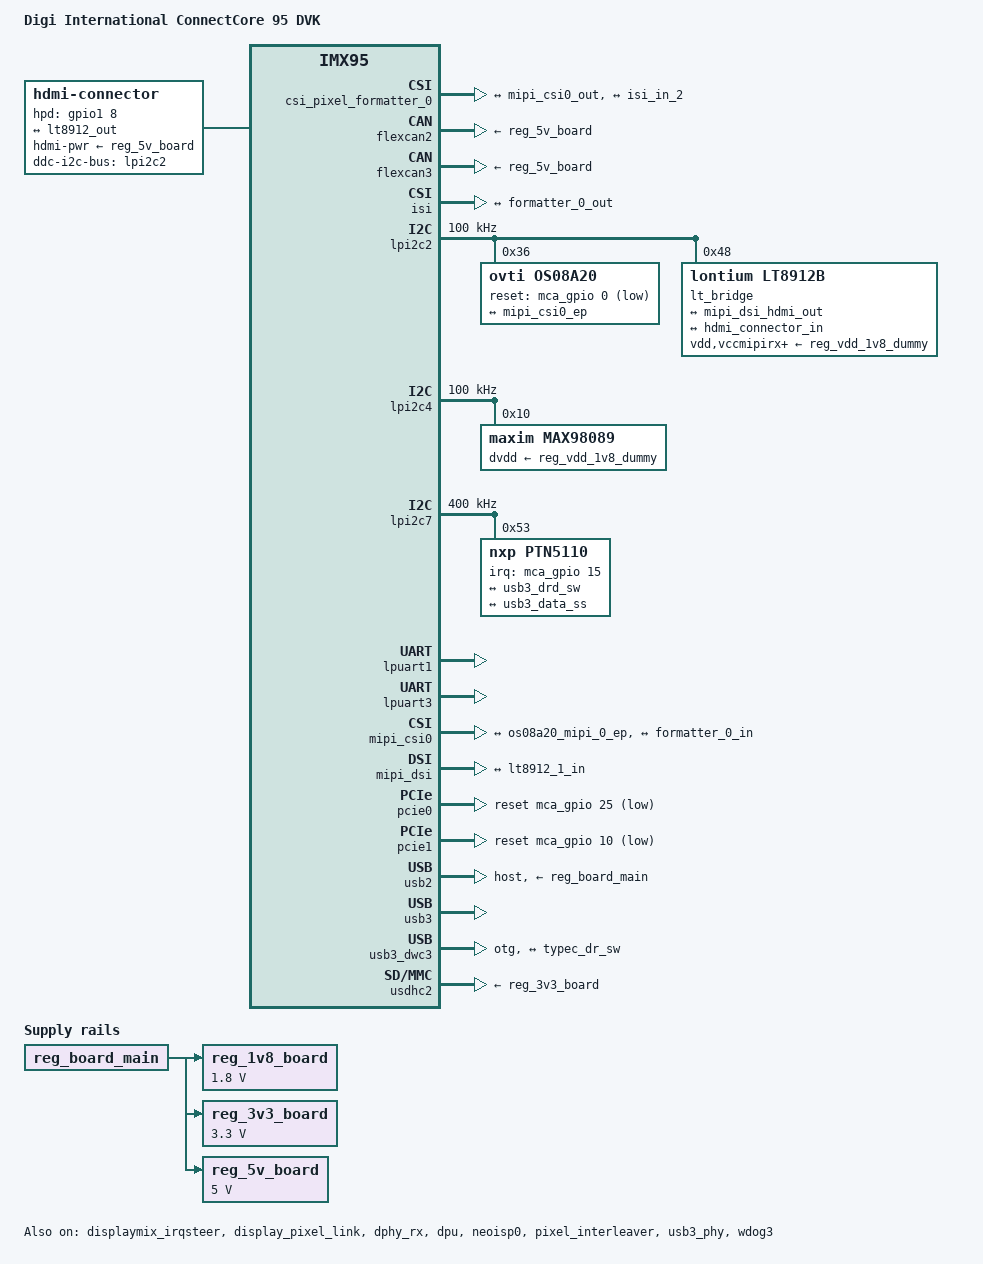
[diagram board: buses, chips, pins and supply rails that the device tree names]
// SPDX-License-Identifier: (GPL-2.0+ OR MIT)
/*
 * Copyright 2025-2026, Digi International Inc.
 */

/dts-v1/;

#include <dt-bindings/phy/phy-imx8-pcie.h>
#include <dt-bindings/pwm/pwm.h>
#include <dt-bindings/usb/pd.h>
/* i.MX95 CPU */
#include "../freescale/imx95.dtsi"
/* Digi ConnectCore 95 (SOM) */
#include "ccimx95.dtsi"
/* Digi ConnectCore 95 SMARC card for SOM */
#include "ccimx95-smarc.dtsi"

/ {
	model = "Digi International ConnectCore 95 DVK";
	compatible = "digi,ccimx95-dvk", "digi,ccimx95", "fsl,imx95-19x19-evk", "fsl,imx95";
	digi,machine,name = "ccimx95-dvk";

	aliases {
		ethernet0 = &enetc_port0;
		ethernet1 = &enetc_port1;
	};

	chosen {
		stdout-path = &lpuart1;
	};

	hdmi_connector: hdmi-connector {
		compatible = "hdmi-connector";
		pinctrl-names = "default";
		pinctrl-0 = <&pinctrl_hdmi_hpd>;
		ddc-i2c-bus = <&lpi2c2>;
		hdmi-pwr-supply = <&reg_5v_board>;
		hpd-gpios = <&gpio1 8 GPIO_ACTIVE_HIGH>;
		label = "hdmi";
		type = "a";

		port {
			hdmi_connector_in: endpoint {
				remote-endpoint = <&lt8912_out>;
			};
		};
	};

	/* Required placeholder to inject LVDS0 overlay */
	lvds0-panel {
		status = "disabled";
	};

	/* Required placeholder to inject LVDS1 overlay */
	lvds1-panel {
		status = "disabled";
	};

	regulators {
		compatible = "simple-bus";
		#address-cells = <1>;
		#size-cells = <0>;

		/* Enabled by SMARC_CARRIER_PWR_ON (MCA) */
		reg_board_main: regulator-board-main {
			compatible = "regulator-fixed";
			regulator-name = "reg_main";
			enable-active-high;
		};

		reg_1v8_board: regulator-1v8-board {
			compatible = "regulator-fixed";
			regulator-max-microvolt = <1800000>;
			regulator-min-microvolt = <1800000>;
			regulator-name = "1v8_board";
			vin-supply = <&reg_board_main>;
		};

		reg_3v3_board: regulator-3v3-board {
			compatible = "regulator-fixed";
			regulator-max-microvolt = <3300000>;
			regulator-min-microvolt = <3300000>;
			regulator-name = "3v3_board";
			vin-supply = <&reg_board_main>;
		};

		reg_5v_board: regulator-5v-board {
			compatible = "regulator-fixed";
			regulator-max-microvolt = <5000000>;
			regulator-min-microvolt = <5000000>;
			regulator-name = "5v_board";
			vin-supply = <&reg_board_main>;
		};
	};

	sound_max98089: sound-max98089 {
		compatible = "fsl,imx-audio-max98088";
		model = "max98088-audio";
		audio-cpu = <&sai3>;
		audio-codec = <&max98089>;
		audio-routing =
			"Headphone Jack", "HPL",
			"Headphone Jack", "HPR",
			"Ext Spk", "SPKL",
			"Ext Spk", "SPKR",
			"Line Out Jack", "RECL",
			"Line Out Jack", "RECR",
			"Mic Jack", "MIC2",
			"Line In Jack", "INA1",
			"Line In Jack", "INA2",
			"Line In Jack", "INB1",
			"Line In Jack", "INB2";
	};
};

&cm7 {
	status = "disabled";
};

&csi_pixel_formatter_0 {
	status = "okay";

	ports {
		#address-cells = <1>;
		#size-cells = <0>;

		port@0 {
			reg = <0>;

			formatter_0_in: endpoint {
				remote-endpoint = <&mipi_csi0_out>;
			};
		};

		port@1 {
			reg = <1>;

			formatter_0_out: endpoint {
				remote-endpoint = <&isi_in_2>;
			};
		};
	};
};

&displaymix_irqsteer {
	status = "okay";
};

&display_pixel_link {
	status = "okay";
};

&dphy_rx {
	status = "okay";
};

&dpu {
	assigned-clocks = <&scmi_clk IMX95_CLK_DISP1PIX>,
			  <&scmi_clk IMX95_CLK_VIDEOPLL1_VCO>,
			  <&scmi_clk IMX95_CLK_VIDEOPLL1>;
	assigned-clock-parents = <&scmi_clk IMX95_CLK_VIDEOPLL1>;
	assigned-clock-rates = <0>, <4008000000>, <445333334>;
	status = "okay";
};

&flexcan2 {
	xceiver-supply = <&reg_5v_board>;
};

&flexcan3 {
	xceiver-supply = <&reg_5v_board>;
};

&flexspi1 {
	pinctrl-names = "default", "sleep";
	pinctrl-0 = <&pinctrl_flexspi1>;
	pinctrl-1 = <&pinctrl_flexspi1>;
	/*
	 * TODO: reset line unsupported by FlexSPI driver
	 * SMARC_ESPI_RESET# comes from MCA PA12
	 */
	status = "disabled";
};

&isi {
	status = "okay";

	ports {
		#address-cells = <1>;
		#size-cells = <0>;

		/*
		* ISI ports 0 and 1 are fed by DPU pixel-link outputs.
		* ISI ports 2 and 3 are fed by CameraMix
		* (formatter/interleaver) outputs.
		*/
		port@2 {
			reg = <2>;

			isi_in_2: endpoint {
				remote-endpoint = <&formatter_0_out>;
			};
		};
	};
};

&lpi2c2 {
	#address-cells = <1>;
	#size-cells = <0>;
	clock-frequency = <100000>;
	status = "okay";

	/* MIPI-CSI camera */
	os08a20: os08a20_mipi@36 {
		compatible = "ovti,os08a20";
		reg = <0x36>;
		/* MIPI_CSI1_PWDN#: MCA PA3 */
		reset-gpios = <&mca_gpio 0 GPIO_ACTIVE_LOW>;
		orientation = <2>;
		rotation = <0>;
		status = "okay";

		port {
			os08a20_mipi_0_ep: endpoint {
				remote-endpoint = <&mipi_csi0_ep>;
				data-lanes = <1 2 3 4>;
				clock-lanes = <0>;
			};
		};
	};

	lt_bridge: lt8912@48 {
		compatible = "lontium,lt8912b";
		reg = <0x48>;
		vdd-supply = <&reg_vdd_1v8_dummy>;
		vccmipirx-supply = <&reg_vdd_1v8_dummy>;
		vcchdmitx-supply = <&reg_vdd_1v8_dummy>;
		vcchdmipll-supply = <&reg_vdd_1v8_dummy>;
		vcclvdstx-supply = <&reg_vdd_1v8_dummy>;
		vccsysclk-supply = <&reg_vdd_1v8_dummy>;
		vcclvdspll-supply = <&reg_vdd_1v8_dummy>;
		status = "okay";

		ports {
			#address-cells = <1>;
			#size-cells = <0>;

			port@0 {
				reg = <0>;
				lt8912_1_in: endpoint {
					data-lanes = <1 2 3 4>;
					remote-endpoint = <&mipi_dsi_hdmi_out>;
				};
			};

			port@1 {
				reg = <1>;
				lt8912_out: endpoint {
					remote-endpoint = <&hdmi_connector_in>;
				};
			};
		};
	};
};

&lpi2c4 {
	#address-cells = <1>;
	#size-cells = <0>;
	clock-frequency = <100000>;
	status = "okay";

	max98089: codec@10 {
		compatible = "maxim,max98089";
		reg = <0x10>;
		clocks = <&scmi_clk IMX95_CLK_SAI3>;
		clock-names = "mclk";
		dvdd-supply = <&reg_vdd_1v8_dummy>;
	};
};

&lpi2c7 {
	#address-cells = <1>;
	#size-cells = <0>;
	clock-frequency = <400000>;
	status = "okay";

	ptn5110: tcpc@53 {
		compatible = "nxp,ptn5110";
		reg = <0x53>;
		interrupt-parent = <&mca_gpio>;
		interrupts = <15 IRQ_TYPE_EDGE_FALLING>;
		pinctrl-names = "default";
		pinctrl-0 = <&pinctrl_ptn5110>;

		port {
			typec_dr_sw: endpoint {
				remote-endpoint = <&usb3_drd_sw>;
			};
		};

		typec_con: connector {
			compatible = "usb-c-connector";
			label = "USB-C";
			power-role = "dual";
			data-role = "dual";
			try-power-role = "sink";
			source-pdos = <PDO_FIXED(5000, 3000, PDO_FIXED_USB_COMM)>;
			sink-pdos = <PDO_FIXED(5000, 0, PDO_FIXED_USB_COMM)>;
			op-sink-microwatt = <0>;
			self-powered;

			ports {
				#address-cells = <1>;
				#size-cells = <0>;

				port@1 {
					reg = <1>;
					typec_con_ss: endpoint {
						remote-endpoint = <&usb3_data_ss>;
					};
				};
			};
		};
	};
};

&lpspi1 {
	status = "disabled";

	spidev0: spi@0 {
		/*
		 * spidev uses a compatible string 'rohm,fs2228fv' to have the
		 * driver create an spi device node. This is just an example,
		 * there is not a real device connected on the SPI bus.
		 */
		compatible = "rohm,dh2228fv";
		reg = <0>;
		spi-max-frequency = <1000000>;
	};
};

/* Console */
&lpuart1 {
	/* Errata: DMA does not work on LPUART1 */
	/delete-property/dmas;
	/delete-property/dma-names;
	status = "okay";
};

/* LPUART3 routed to RS485 transceiver */
&lpuart3 {
	/*
	 * Disable RS485 on DVKv2 because DE/RE# line is an MCA_IO
	 * that cannot be toggled in interrupt context.
	 */
	// linux,rs485-enabled-at-boot-time;
	// digi,rts-gpio = <&mca_gpio 18 GPIO_ACTIVE_HIGH>;
	/delete-property/dmas;
	/delete-property/dma-names;
	status = "okay";
};

/* LPUART7 routed to XBee connector */
&lpuart7 {
	pinctrl-names = "default";
	pinctrl-0 = <&pinctrl_uart7>, <&pinctrl_xbee_gpios>;
	status = "disabled";
};

&mipi_csi0 {
	status = "okay";

	ports {
		#address-cells = <1>;
		#size-cells = <0>;

		port@0 {
			reg = <0>;

			mipi_csi0_ep: endpoint {
				remote-endpoint = <&os08a20_mipi_0_ep>;
				data-lanes = <1 2 3 4>;
				clock-lanes = <0>;
			};
		};

		port@1 {
			reg = <1>;
			mipi_csi0_out: endpoint {
				remote-endpoint = <&formatter_0_in>;
			};
		};
	};
};

&mipi_dsi {
	status = "okay";

	ports {
		#address-cells = <1>;
		#size-cells = <0>;

		port@1 {
			reg = <1>;

			mipi_dsi_hdmi_out: endpoint {
				remote-endpoint = <&lt8912_1_in>;
			};
		};
	};
};

&neoisp0 {
	compatible = "nxp,imx95-b0-neoisp";
	status = "okay";
};

/* M.2 E-Key slot */
&pcie0 {
	vpcie-supply = <&reg_3v3_board>;
	reset-gpios = <&mca_gpio 25 GPIO_ACTIVE_LOW>;	/* MCA PB10 */
};

/* M.2 B-Key slot */
&pcie1 {
	vpcie-supply = <&reg_3v3_board>;
	reset-gpios = <&mca_gpio 10 GPIO_ACTIVE_LOW>;	/* MCA PB1 */
};

&pcie1_ep {
	vpcie-supply = <&reg_3v3_board>;
};

&pixel_interleaver {
	#address-cells = <1>;
	#size-cells = <0>;
	status = "okay";

	channel@0 {
		reg = <0>;
		status = "okay";
	};
};

&usb2 {
	/* On SMARC DVKv1 powered directly from VIN_5V */
	vbus-supply = <&reg_board_main>;
	dr_mode = "host";
	disable-over-current;
	status = "okay";
};

&usb3 {
	status = "okay";
};

&usb3_dwc3 {
	dr_mode = "otg";
	hnp-disable;
	srp-disable;
	adp-disable;
	usb-role-switch;
	role-switch-default-mode = "host";
	snps,dis-u1-entry-quirk;
	snps,dis-u2-entry-quirk;
	status = "okay";

	port {
		usb3_drd_sw: endpoint {
			remote-endpoint = <&typec_dr_sw>;
		};
	};
};

&usb3_phy {
	vbus-supply = <&reg_5v_board>;
	fsl,phy-pcs-tx-deemph-3p5db-attenuation-db = <17>;
	fsl,phy-pcs-tx-swing-full-percent = <100>;
	fsl,phy-tx-preemp-amp-tune-microamp = <600>;
	fsl,phy-tx-vboost-level-microvolt = <1156>;
	status = "okay";

	port {
		usb3_data_ss: endpoint {
			remote-endpoint = <&typec_con_ss>;
		};
	};
};

/* MicroSD */
&usdhc2 {
	vmmc-supply = <&reg_3v3_board>;
};

&wdog3 {
	status = "okay";
};

&scmi_iomuxc {
	pinctrl-names = "default";
	pinctrl-0 = <&pinctrl_gpio>;

	/* GPIOs for User Leds, Buttons, ... */
	pinctrl_gpio: gpiogrp {
		fsl,pins = <
			/* XBEE_UART_RX_3V3 - J20.2 */
			IMX95_PAD_GPIO_IO37__GPIO5_IO_BIT17	0x31e
			/* XBEE_UART_TX_3V3 - J20.3 */
			IMX95_PAD_GPIO_IO36__GPIO5_IO_BIT16	0x31e
			/* XBEE_RESET#_3V3 - J20.5 */
			IMX95_PAD_SD2_RESET_B__GPIO3_IO_BIT7	0x31e
			/* XBEE_UART_RTS_3V3 - J21.5 */
			IMX95_PAD_GPIO_IO11__GPIO2_IO_BIT11	0x31e
			/* XBEE_UART_CTS_3V3 - J21.9 */
			IMX95_PAD_GPIO_IO10__GPIO2_IO_BIT10	0x31e

			/* GPIO4_IO29 - J22.1 */
			IMX95_PAD_CCM_CLKO4__GPIO4_IO_BIT29	0x31e
			/* GPIO3_IO27 - J22.1 */
			IMX95_PAD_CCM_CLKO2__GPIO3_IO_BIT27	0x31e

			/* I2C5_SCL - J23.2 */
			IMX95_PAD_GPIO_IO23__GPIO2_IO_BIT23	0x31e
			/* I2C5_SDA - J23.3 */
			IMX95_PAD_GPIO_IO22__GPIO2_IO_BIT22	0x31e

			/* SPI1_SS0 - J24.1 */
			IMX95_PAD_SAI1_TXFS__AONMIX_TOP_GPIO1_IO_BIT11	0x31e
			/* SPI1_SS1 - J24.2 */
			IMX95_PAD_PDM_BIT_STREAM0__AONMIX_TOP_GPIO1_IO_BIT9	0x31e
			/* SPI1_SCK - J24.3 */
			IMX95_PAD_SAI1_TXD0__AONMIX_TOP_GPIO1_IO_BIT13	0x31e
			/* SPI1_MISO - J24.4 */
			IMX95_PAD_SAI1_TXC__AONMIX_TOP_GPIO1_IO_BIT12	0x31e
			/* SPI1_MOSI - J24.5 */
			IMX95_PAD_SAI1_RXD0__AONMIX_TOP_GPIO1_IO_BIT14	0x31e

			/* SAI5_TXFS - J25.2 */
			IMX95_PAD_XSPI1_DATA5__GPIO5_IO_BIT5	0x31e
			/* SAI5_TXD - J25.3 */
			IMX95_PAD_XSPI1_DATA4__GPIO5_IO_BIT4	0x31e
			/* SAI5_RXD - J25.4 */
			IMX95_PAD_XSPI1_DATA7__GPIO5_IO_BIT7	0x31e
			/* SAI5_TXC - J25.5 */
			IMX95_PAD_XSPI1_DATA6__GPIO5_IO_BIT6	0x31e

			/* XSPI1_SCLK - J26.1 */
			IMX95_PAD_XSPI1_SCLK__GPIO5_IO_BIT9	0x31e
			/* XSPI1_SS0 - J26.2 */
			IMX95_PAD_XSPI1_SS0_B__GPIO5_IO_BIT10	0x31e
			/* XSPI1_DATA0 - J26.3 */
			IMX95_PAD_XSPI1_DATA0__GPIO5_IO_BIT0	0x31e
			/* XSPI1_SS1 - J26.4 */
			IMX95_PAD_XSPI1_SS1_B__GPIO5_IO_BIT11	0x31e
			/* XSPI1_DATA1 - J26.5 */
			IMX95_PAD_XSPI1_DATA1__GPIO5_IO_BIT1	0x31e
			/* XSPI1_ALERT0# - J26.6 */
			IMX95_PAD_XSPI1_DQS__GPIO5_IO_BIT8	0x31e
			/* XSPI1_DATA2 - J26.7 */
			IMX95_PAD_XSPI1_DATA2__GPIO5_IO_BIT2	0x31e
			/* XSPI1_DATA3 - J26.9 */
			IMX95_PAD_XSPI1_DATA3__GPIO5_IO_BIT3	0x31e
		>;
	};

	pinctrl_hdmi_hpd: hdmi_hpd_grp {
		fsl,pins = <
			IMX95_PAD_PDM_CLK__AONMIX_TOP_GPIO1_IO_BIT8	0x31e
		>;
	};

	pinctrl_ptn5110: ptn5110grp {
		fsl,pins = <
			/* PTN5110 debug irq (DBG_ACC) line */
			IMX95_PAD_ENET1_MDC__GPIO4_IO_BIT0		0x31e
		>;
	};

	/* XBee RF IO lines */
	pinctrl_xbee_gpios: xbeegrp {
		fsl,pins = <
			/* XBEE_RESET_N */
			IMX95_PAD_SD2_RESET_B__GPIO3_IO_BIT7		0x31e
		>;
	};
};
